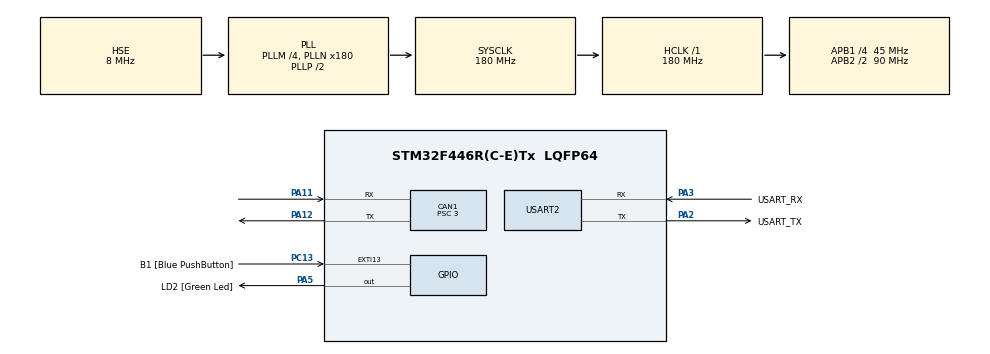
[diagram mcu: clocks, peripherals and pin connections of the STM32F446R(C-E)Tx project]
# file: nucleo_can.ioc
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CAN1.BS1=CAN_BS1_12TQ
CAN1.BS2=CAN_BS2_2TQ
CAN1.CalculateBaudRate=1000000
CAN1.CalculateTimeBit=1000
CAN1.CalculateTimeQuantum=66.66666666666666
CAN1.Mode=CAN_MODE_LOOPBACK
CAN1.Prescaler=3
Mcu.Family=STM32F4
Mcu.Name=STM32F446R(C-E)Tx
Mcu.Package=LQFP64
NVIC.CAN1_RX0_IRQn=true\:0\:0\:false\:false\:true\:true\:true\:true
NVIC.EXTI15_10_IRQn=true\:0\:0\:false\:false\:true\:true\:true\:true
NVIC.PriorityGroup=NVIC_PRIORITYGROUP_0
PA11.Mode=CAN_Activate
PA11.Signal=CAN1_RX
PA12.Mode=CAN_Activate
PA12.Signal=CAN1_TX
PA13.GPIO_Label=TMS
PA13.Mode=Serial_Wire
PA13.Signal=SYS_JTMS-SWDIO
PA14.GPIO_Label=TCK
PA14.Mode=Serial_Wire
PA14.Signal=SYS_JTCK-SWCLK
PA2.GPIO_Label=USART_TX
PA2.Mode=Asynchronous
PA2.Signal=USART2_TX
PA3.GPIO_Label=USART_RX
PA3.Mode=Asynchronous
PA3.Signal=USART2_RX
PA5.GPIO_Label=LD2 [Green Led]
PA5.Signal=GPIO_Output
PB3.GPIO_Label=SWO
PB3.Signal=SYS_JTDO-SWO
PC13.GPIO_Label=B1 [Blue PushButton]
PC13.GPIO_ModeDefaultEXTI=GPIO_MODE_IT_FALLING
PC13.Signal=GPXTI13
PC14-OSC32_IN.Mode=LSE-External-Oscillator
PC14-OSC32_IN.Signal=RCC_OSC32_IN
PC15-OSC32_OUT.Mode=LSE-External-Oscillator
PC15-OSC32_OUT.Signal=RCC_OSC32_OUT
PH0-OSC_IN.Mode=HSE-External-Oscillator
PH0-OSC_IN.Signal=RCC_OSC_IN
PH1-OSC_OUT.Mode=HSE-External-Oscillator
PH1-OSC_OUT.Signal=RCC_OSC_OUT
ProjectManager.HeapSize=0x200
ProjectManager.StackSize=0x400
ProjectManager.TargetToolchain=STM32CubeIDE
RCC.48MHZClocksFreq_Value=84000000
RCC.AHBFreq_Value=180000000
RCC.APB1CLKDivider=RCC_HCLK_DIV4
RCC.APB1Freq_Value=45000000
RCC.APB1TimFreq_Value=90000000
RCC.APB2CLKDivider=RCC_HCLK_DIV2
RCC.APB2Freq_Value=90000000
RCC.APB2TimFreq_Value=180000000
RCC.CortexFreq_Value=180000000
RCC.FLatency-AdvancedSettings=FLASH_LATENCY_5
RCC.HCLKFreq_Value=180000000
RCC.HSE_VALUE=8000000
RCC.HSI_VALUE=16000000
RCC.PLLM=4
RCC.PLLN=180
RCC.PLLSourceVirtual=RCC_PLLSOURCE_HSE
RCC.SYSCLKFreq_VALUE=180000000
RCC.SYSCLKSource=RCC_SYSCLKSOURCE_PLLCLK
RCC.USBFreq_Value=180000000
RCC.VCOOutputFreq_Value=360000000
USART2.VirtualMode=VM_ASYNC
board=NUCLEO-F446RE

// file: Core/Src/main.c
/* USER CODE BEGIN Header */
/**
  ******************************************************************************
  * @file           : main.c
  * @brief          : Main program body
  ******************************************************************************
  * @attention
  *
  * Copyright (c) 2026 STMicroelectronics.
  * All rights reserved.
  *
  * This software is licensed under terms that can be found in the LICENSE file
  * in the root directory of this software component.
  * If no LICENSE file comes with this software, it is provided AS-IS.
  *
  ******************************************************************************
  */
/* USER CODE END Header */
#include "main.h"

CAN_HandleTypeDef hcan1;

UART_HandleTypeDef huart2;

void SystemClock_Config(void);
static void MX_GPIO_Init(void);
static void MX_USART2_UART_Init(void);
static void MX_CAN1_Init(void);

/* USER CODE BEGIN 0 */
CAN_TxHeaderTypeDef   TxHeader;
uint8_t               TxData[8];
uint32_t              TxMailbox;

void HAL_GPIO_EXTI_Callback(uint16_t GPIO_Pin){
	if (GPIO_Pin == GPIO_PIN_13){
		TxData[0] = 100;
		TxData[1] = 10;
		HAL_CAN_AddTxMessage(&hcan1, &TxHeader, TxData, &TxMailbox);
	}
}
/* USER CODE END 0 */

int main(void)
{

  /* MCU Configuration--------------------------------------------------------*/

  /* Reset of all peripherals, Initializes the Flash interface and the Systick. */
  HAL_Init();

  /* Configure the system clock */
  SystemClock_Config();

  /* Initialize all configured peripherals */
  MX_GPIO_Init();
  MX_USART2_UART_Init();
  MX_CAN1_Init();
  /* USER CODE BEGIN 2 */
  HAL_CAN_Start(&hcan1);
  HAL_CAN_ActivateNotification(&hcan1, CAN_IT_RX_FIFO0_MSG_PENDING);

  TxHeader.IDE = CAN_ID_STD;
  TxHeader.StdId = 0x446;
  TxHeader.RTR = CAN_RTR_DATA;
  TxHeader.DLC = 2;

  TxData[0] = 50;
  TxData[1] = 0xAA;
  /* USER CODE END 2 */

  /* Infinite loop */
  /* USER CODE BEGIN WHILE */
  uint16_t test = 0;
  while (1)
  {
    /* USER CODE END WHILE */

  }
}

void SystemClock_Config(void)
{
  RCC_OscInitTypeDef RCC_OscInitStruct = {0};
  RCC_ClkInitTypeDef RCC_ClkInitStruct = {0};

  /** Configure the main internal regulator output voltage
  */
  __HAL_RCC_PWR_CLK_ENABLE();
  __HAL_PWR_VOLTAGESCALING_CONFIG(PWR_REGULATOR_VOLTAGE_SCALE1);

  /** Initializes the RCC Oscillators according to the specified parameters
  * in the RCC_OscInitTypeDef structure.
  */
  RCC_OscInitStruct.OscillatorType = RCC_OSCILLATORTYPE_HSE;
  RCC_OscInitStruct.HSEState = RCC_HSE_ON;
  RCC_OscInitStruct.PLL.PLLState = RCC_PLL_ON;
  RCC_OscInitStruct.PLL.PLLSource = RCC_PLLSOURCE_HSE;
  RCC_OscInitStruct.PLL.PLLM = 4;
  RCC_OscInitStruct.PLL.PLLN = 180;
  RCC_OscInitStruct.PLL.PLLP = RCC_PLLP_DIV2;
  RCC_OscInitStruct.PLL.PLLQ = 2;
  RCC_OscInitStruct.PLL.PLLR = 2;
  if (HAL_RCC_OscConfig(&RCC_OscInitStruct) != HAL_OK)
  {
    Error_Handler();
  }

  /** Activate the Over-Drive mode
  */
  if (HAL_PWREx_EnableOverDrive() != HAL_OK)
  {
    Error_Handler();
  }

  /** Initializes the CPU, AHB and APB buses clocks
  */
  RCC_ClkInitStruct.ClockType = RCC_CLOCKTYPE_HCLK|RCC_CLOCKTYPE_SYSCLK
                              |RCC_CLOCKTYPE_PCLK1|RCC_CLOCKTYPE_PCLK2;
  RCC_ClkInitStruct.SYSCLKSource = RCC_SYSCLKSOURCE_PLLCLK;
  RCC_ClkInitStruct.AHBCLKDivider = RCC_SYSCLK_DIV1;
  RCC_ClkInitStruct.APB1CLKDivider = RCC_HCLK_DIV4;
  RCC_ClkInitStruct.APB2CLKDivider = RCC_HCLK_DIV2;

  if (HAL_RCC_ClockConfig(&RCC_ClkInitStruct, FLASH_LATENCY_5) != HAL_OK)
  {
    Error_Handler();
  }
}

static void MX_CAN1_Init(void)
{

  hcan1.Instance = CAN1;
  hcan1.Init.Prescaler = 3;
  hcan1.Init.Mode = CAN_MODE_LOOPBACK;
  hcan1.Init.SyncJumpWidth = CAN_SJW_1TQ;
  hcan1.Init.TimeSeg1 = CAN_BS1_12TQ;
  hcan1.Init.TimeSeg2 = CAN_BS2_2TQ;
  hcan1.Init.TimeTriggeredMode = DISABLE;
  hcan1.Init.AutoBusOff = DISABLE;
  hcan1.Init.AutoWakeUp = DISABLE;
  hcan1.Init.AutoRetransmission = DISABLE;
  hcan1.Init.ReceiveFifoLocked = DISABLE;
  hcan1.Init.TransmitFifoPriority = DISABLE;
  if (HAL_CAN_Init(&hcan1) != HAL_OK)
  {
    Error_Handler();
  }

}

static void MX_USART2_UART_Init(void)
{

  huart2.Instance = USART2;
  huart2.Init.BaudRate = 115200;
  huart2.Init.WordLength = UART_WORDLENGTH_8B;
  huart2.Init.StopBits = UART_STOPBITS_1;
  huart2.Init.Parity = UART_PARITY_NONE;
  huart2.Init.Mode = UART_MODE_TX_RX;
  huart2.Init.HwFlowCtl = UART_HWCONTROL_NONE;
  huart2.Init.OverSampling = UART_OVERSAMPLING_16;
  if (HAL_UART_Init(&huart2) != HAL_OK)
  {
    Error_Handler();
  }

}

static void MX_GPIO_Init(void)
{
  GPIO_InitTypeDef GPIO_InitStruct = {0};

  /* GPIO Ports Clock Enable */
  __HAL_RCC_GPIOC_CLK_ENABLE();
  __HAL_RCC_GPIOH_CLK_ENABLE();
  __HAL_RCC_GPIOA_CLK_ENABLE();
  __HAL_RCC_GPIOB_CLK_ENABLE();

  /*Configure GPIO pin Output Level */
  HAL_GPIO_WritePin(LD2_GPIO_Port, LD2_Pin, GPIO_PIN_RESET);

  /*Configure GPIO pin : B1_Pin */
  GPIO_InitStruct.Pin = B1_Pin;
  GPIO_InitStruct.Mode = GPIO_MODE_IT_FALLING;
  GPIO_InitStruct.Pull = GPIO_NOPULL;
  HAL_GPIO_Init(B1_GPIO_Port, &GPIO_InitStruct);

  /*Configure GPIO pin : LD2_Pin */
  GPIO_InitStruct.Pin = LD2_Pin;
  GPIO_InitStruct.Mode = GPIO_MODE_OUTPUT_PP;
  GPIO_InitStruct.Pull = GPIO_NOPULL;
  GPIO_InitStruct.Speed = GPIO_SPEED_FREQ_LOW;
  HAL_GPIO_Init(LD2_GPIO_Port, &GPIO_InitStruct);

  /* EXTI interrupt init*/
  HAL_NVIC_SetPriority(EXTI15_10_IRQn, 0, 0);
  HAL_NVIC_EnableIRQ(EXTI15_10_IRQn);

}

void Error_Handler(void)
{
  __disable_irq();
  while (1)
  {
  }
}
